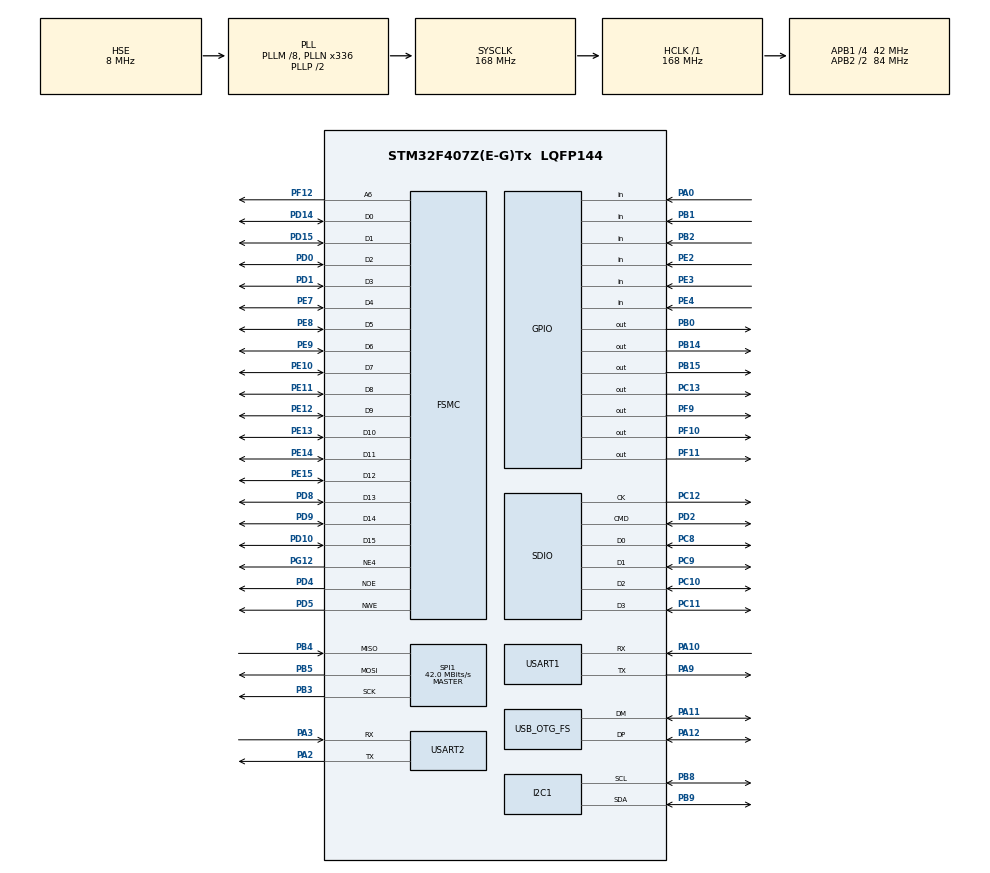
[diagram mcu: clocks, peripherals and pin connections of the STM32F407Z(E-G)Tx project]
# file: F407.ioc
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FREERTOS.Tasks01=defaultTask,0,128,StartDefaultTask,Default,NULL
FREERTOS.configUSE_STATS_FORMATTING_FUNCTIONS=1
FREERTOS.configUSE_TICKLESS_IDLE=1
FREERTOS.configUSE_TIMERS=1
FREERTOS.configUSE_TRACE_FACILITY=1
FSMC.BusTurnAroundDuration1=0
FSMC.DataSetupTime1=60
Mcu.Family=STM32F4
Mcu.Name=STM32F407Z(E-G)Tx
Mcu.Package=LQFP144
NVIC.OTG_FS_IRQn=true\:5\:0\:false\:false\:true\:true\:false
NVIC.PriorityGroup=NVIC_PRIORITYGROUP_4
PA0-WKUP.Signal=GPIO_Input
PA10.Mode=Asynchronous
PA10.Signal=USART1_RX
PA11.Mode=Device_Only
PA11.Signal=USB_OTG_FS_DM
PA12.Mode=Device_Only
PA12.Signal=USB_OTG_FS_DP
PA13.Mode=Serial_Wire
PA13.Signal=SYS_JTMS-SWDIO
PA14.Mode=Serial_Wire
PA14.Signal=SYS_JTCK-SWCLK
PA2.Mode=Asynchronous
PA2.Signal=USART2_TX
PA3.Mode=Asynchronous
PA3.Signal=USART2_RX
PA9.Mode=Asynchronous
PA9.Signal=USART1_TX
PB0.Signal=GPIO_Output
PB1.Signal=GPIO_Input
PB14.Signal=GPIO_Output
PB15.Signal=GPIO_Output
PB2.Signal=GPIO_Input
PB3.Mode=Full_Duplex_Master
PB3.Signal=SPI1_SCK
PB4.Mode=Full_Duplex_Master
PB4.Signal=SPI1_MISO
PB5.Mode=Full_Duplex_Master
PB5.Signal=SPI1_MOSI
PB8.Mode=SMBus-two-wire-Interface
PB8.Signal=I2C1_SCL
PB9.Mode=SMBus-two-wire-Interface
PB9.Signal=I2C1_SDA
PC10.Mode=SD_4_bits_Wide_bus
PC10.Signal=SDIO_D2
PC11.Mode=SD_4_bits_Wide_bus
PC11.Signal=SDIO_D3
PC12.Mode=SD_4_bits_Wide_bus
PC12.Signal=SDIO_CK
PC13-ANTI_TAMP.Signal=GPIO_Output
PC14-OSC32_IN.Mode=LSE-External-Oscillator
PC14-OSC32_IN.Signal=RCC_OSC32_IN
PC15-OSC32_OUT.Mode=LSE-External-Oscillator
PC15-OSC32_OUT.Signal=RCC_OSC32_OUT
PC8.Mode=SD_4_bits_Wide_bus
PC8.Signal=SDIO_D0
PC9.Mode=SD_4_bits_Wide_bus
PC9.Signal=SDIO_D1
PD0.Signal=FSMC_D2_DA2
PD1.Signal=FSMC_D3_DA3
PD10.Signal=FSMC_D15_DA15
PD14.Signal=FSMC_D0_DA0
PD15.Signal=FSMC_D1_DA1
PD2.Mode=SD_4_bits_Wide_bus
PD2.Signal=SDIO_CMD
PD4.Signal=FSMC_NOE
PD5.Signal=FSMC_NWE
PD8.Signal=FSMC_D13_DA13
PD9.Signal=FSMC_D14_DA14
PE10.Signal=FSMC_D7_DA7
PE11.Signal=FSMC_D8_DA8
PE12.Signal=FSMC_D9_DA9
PE13.Signal=FSMC_D10_DA10
PE14.Signal=FSMC_D11_DA11
PE15.Signal=FSMC_D12_DA12
PE2.Signal=GPIO_Input
PE3.Signal=GPIO_Input
PE4.Signal=GPIO_Input
PE7.Signal=FSMC_D4_DA4
PE8.Signal=FSMC_D5_DA5
PE9.Signal=FSMC_D6_DA6
PF10.Signal=GPIO_Output
PF11.Signal=GPIO_Output
PF12.Signal=FSMC_A6
PF9.Signal=GPIO_Output
PG12.Mode=NorPsramChipSelect4_1
PG12.Signal=FSMC_NE4
PH0-OSC_IN.Mode=HSE-External-Oscillator
PH0-OSC_IN.Signal=RCC_OSC_IN
PH1-OSC_OUT.Mode=HSE-External-Oscillator
PH1-OSC_OUT.Signal=RCC_OSC_OUT
ProjectManager.HeapSize=0x200
ProjectManager.StackSize=0x400
ProjectManager.TargetToolchain=Makefile
RCC.48MHZClocksFreq_Value=48000000
RCC.AHBFreq_Value=168000000
RCC.APB1CLKDivider=RCC_HCLK_DIV4
RCC.APB1Freq_Value=42000000
RCC.APB1TimFreq_Value=84000000
RCC.APB2CLKDivider=RCC_HCLK_DIV2
RCC.APB2Freq_Value=84000000
RCC.APB2TimFreq_Value=168000000
RCC.CortexFreq_Value=168000000
RCC.HCLKFreq_Value=168000000
RCC.HSE_VALUE=8000000
RCC.HSI_VALUE=16000000
RCC.PLLM=8
RCC.PLLN=336
RCC.PLLQ=7
RCC.SYSCLKFreq_VALUE=168000000
RCC.SYSCLKSource=RCC_SYSCLKSOURCE_PLLCLK
RCC.VCOOutputFreq_Value=336000000
SH.FSMC_A6.0=FSMC_A6,A6_1
SH.FSMC_D0_DA0.0=FSMC_D0,16b-d1
SH.FSMC_D10_DA10.0=FSMC_D10,16b-d1
SH.FSMC_D11_DA11.0=FSMC_D11,16b-d1
SH.FSMC_D12_DA12.0=FSMC_D12,16b-d1
SH.FSMC_D13_DA13.0=FSMC_D13,16b-d1
SH.FSMC_D14_DA14.0=FSMC_D14,16b-d1
SH.FSMC_D15_DA15.0=FSMC_D15,16b-d1
SH.FSMC_D1_DA1.0=FSMC_D1,16b-d1
SH.FSMC_D2_DA2.0=FSMC_D2,16b-d1
SH.FSMC_D3_DA3.0=FSMC_D3,16b-d1
SH.FSMC_D4_DA4.0=FSMC_D4,16b-d1
SH.FSMC_D5_DA5.0=FSMC_D5,16b-d1
SH.FSMC_D6_DA6.0=FSMC_D6,16b-d1
SH.FSMC_D7_DA7.0=FSMC_D7,16b-d1
SH.FSMC_D8_DA8.0=FSMC_D8,16b-d1
SH.FSMC_D9_DA9.0=FSMC_D9,16b-d1
SH.FSMC_NOE.0=FSMC_NOE,Lcd1
SH.FSMC_NWE.0=FSMC_NWE,Lcd1
SPI1.CalculateBaudRate=42.0 MBits/s
SPI1.Direction=SPI_DIRECTION_2LINES
SPI1.Mode=SPI_MODE_MASTER
SPI1.VirtualType=VM_MASTER
USART1.VirtualMode=VM_ASYNC
USART2.VirtualMode=VM_ASYNC
USB_DEVICE.CLASS_NAME_FS=MSC
USB_DEVICE.VirtualMode-MSC_FS=Msc
USB_DEVICE.VirtualModeFS=Msc_FS
USB_OTG_FS.VirtualMode=Device_Only
VP_CRC_VS_CRC.Mode=CRC_Activate
VP_FATFS_VS_Generic.Mode=User_defined
VP_FREERTOS_VS_ENABLE.Mode=Enabled
VP_RTC_VS_RTC_Activate.Mode=RTC_Enabled
VP_USB_DEVICE_VS_USB_DEVICE_MSC_FS.Mode=MSC_FS
board=custom

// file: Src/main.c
/* USER CODE BEGIN Header */
/**
  ******************************************************************************
  * @file           : main.c
  * @brief          : Main program body
  ******************************************************************************
  * This notice applies to any and all portions of this file
  * that are not between comment pairs USER CODE BEGIN and
  * USER CODE END. Other portions of this file, whether
  * inserted by the user or by software development tools
  * are owned by their respective copyright owners.
  *
  * Copyright (c) 2020 STMicroelectronics International N.V.
  * All rights reserved.
  *
  * Redistribution and use in source and binary forms, with or without
  * modification, are permitted, provided that the following conditions are met:
  *
  * 1. Redistribution of source code must retain the above copyright notice,
  *    this list of conditions and the following disclaimer.
  * 2. Redistributions in binary form must reproduce the above copyright notice,
  *    this list of conditions and the following disclaimer in the documentation
  *    and/or other materials provided with the distribution.
  * 3. Neither the name of STMicroelectronics nor the names of other
  *    contributors to this software may be used to endorse or promote products
  *    derived from this software without specific written permission.
  * 4. This software, including modifications and/or derivative works of this
  *    software, must execute solely and exclusively on microcontroller or
  *    microprocessor devices manufactured by or for STMicroelectronics.
  * 5. Redistribution and use of this software other than as permitted under
  *    this license is void and will automatically terminate your rights under
  *    this license.
  *
  * THIS SOFTWARE IS PROVIDED BY STMICROELECTRONICS AND CONTRIBUTORS "AS IS"
  * AND ANY EXPRESS, IMPLIED OR STATUTORY WARRANTIES, INCLUDING, BUT NOT
  * LIMITED TO, THE IMPLIED WARRANTIES OF MERCHANTABILITY, FITNESS FOR A
  * PARTICULAR PURPOSE AND NON-INFRINGEMENT OF THIRD PARTY INTELLECTUAL PROPERTY
  * RIGHTS ARE DISCLAIMED TO THE FULLEST EXTENT PERMITTED BY LAW. IN NO EVENT
  * SHALL STMICROELECTRONICS OR CONTRIBUTORS BE LIABLE FOR ANY DIRECT, INDIRECT,
  * INCIDENTAL, SPECIAL, EXEMPLARY, OR CONSEQUENTIAL DAMAGES (INCLUDING, BUT NOT
  * LIMITED TO, PROCUREMENT OF SUBSTITUTE GOODS OR SERVICES; LOSS OF USE, DATA,
  * OR PROFITS; OR BUSINESS INTERRUPTION) HOWEVER CAUSED AND ON ANY THEORY OF
  * LIABILITY, WHETHER IN CONTRACT, STRICT LIABILITY, OR TORT (INCLUDING
  * NEGLIGENCE OR OTHERWISE) ARISING IN ANY WAY OUT OF THE USE OF THIS SOFTWARE,
  * EVEN IF ADVISED OF THE POSSIBILITY OF SUCH DAMAGE.
  *
  ******************************************************************************
  */
/* USER CODE END Header */

#include "main.h"
#include "cmsis_os.h"
#include "crc.h"
#include "fatfs.h"
#include "i2c.h"
#include "rtc.h"
#include "sdio.h"
#include "spi.h"
#include "usart.h"
#include "usb_device.h"
#include "gpio.h"
#include "fsmc.h"

/* USER CODE BEGIN PV */
#if 0
#include "stdio.h"
int fputc(int ch, FILE *f)
 {
	HAL_UART_Transmit(&huart1,(uint8_t *)&ch,1,100);
	return ch;
 }
#else
int _write(int file, char *ptr, int len)
{
  /*
  int DataIdx;
  for (DataIdx = 0; DataIdx < len; DataIdx++)
  {
    HAL_UART_Transmit(&huart1, (uint8_t *)ptr++, 1, 100);
    // __io_putchar( *ptr++ );
  }
  */
  HAL_UART_Transmit(&huart1, (uint8_t *)ptr, len, 1000);
  return len;
}
#endif
/* USER CODE END PV */

void SystemClock_Config(void);
void MX_FREERTOS_Init(void);

/* USER CODE BEGIN 0 */
const char __attribute__((section(".lua_script"))) script[]="123456 stm32 flash test\r\n";
/* USER CODE END 0 */

// extern void UI_task(void const * argument);
int main(void)
{

  /* MCU Configuration--------------------------------------------------------*/

  /* Reset of all peripherals, Initializes the Flash interface and the Systick. */
  HAL_Init();

  /* Configure the system clock */
  SystemClock_Config();

  /* Initialize all configured peripherals */
  MX_GPIO_Init();
  MX_RTC_Init();
  MX_CRC_Init();
  MX_SDIO_SD_Init();
  MX_USART1_UART_Init();
  MX_FSMC_Init();
  MX_SPI1_Init();
  MX_I2C1_Init();
  MX_USART2_UART_Init();
  /* USER CODE BEGIN 2 */
  printf("Compiled %s %s\r\n",__DATE__,__TIME__);
  // UI_task(NULL);
  /* USER CODE END 2 */

  /* Call init function for freertos objects (in freertos.c) */
  MX_FREERTOS_Init();

  /* Start scheduler */
  osKernelStart();

  /* We should never get here as control is now taken by the scheduler */

  /* Infinite loop */
  while (1)
  {

  }
}

void SystemClock_Config(void)
{
  RCC_OscInitTypeDef RCC_OscInitStruct = {0};
  RCC_ClkInitTypeDef RCC_ClkInitStruct = {0};
  RCC_PeriphCLKInitTypeDef PeriphClkInitStruct = {0};

  /**Configure the main internal regulator output voltage
  */
  __HAL_RCC_PWR_CLK_ENABLE();
  __HAL_PWR_VOLTAGESCALING_CONFIG(PWR_REGULATOR_VOLTAGE_SCALE1);
  /**Initializes the CPU, AHB and APB busses clocks
  */
  RCC_OscInitStruct.OscillatorType = RCC_OSCILLATORTYPE_LSI|RCC_OSCILLATORTYPE_HSE;
  RCC_OscInitStruct.HSEState = RCC_HSE_ON;
  RCC_OscInitStruct.LSIState = RCC_LSI_ON;
  RCC_OscInitStruct.PLL.PLLState = RCC_PLL_ON;
  RCC_OscInitStruct.PLL.PLLSource = RCC_PLLSOURCE_HSE;
  RCC_OscInitStruct.PLL.PLLM = 8;
  RCC_OscInitStruct.PLL.PLLN = 336;
  RCC_OscInitStruct.PLL.PLLP = RCC_PLLP_DIV2;
  RCC_OscInitStruct.PLL.PLLQ = 7;
  if (HAL_RCC_OscConfig(&RCC_OscInitStruct) != HAL_OK)
  {
    Error_Handler();
  }
  /**Initializes the CPU, AHB and APB busses clocks
  */
  RCC_ClkInitStruct.ClockType = RCC_CLOCKTYPE_HCLK|RCC_CLOCKTYPE_SYSCLK
                              |RCC_CLOCKTYPE_PCLK1|RCC_CLOCKTYPE_PCLK2;
  RCC_ClkInitStruct.SYSCLKSource = RCC_SYSCLKSOURCE_PLLCLK;
  RCC_ClkInitStruct.AHBCLKDivider = RCC_SYSCLK_DIV1;
  RCC_ClkInitStruct.APB1CLKDivider = RCC_HCLK_DIV4;
  RCC_ClkInitStruct.APB2CLKDivider = RCC_HCLK_DIV2;

  if (HAL_RCC_ClockConfig(&RCC_ClkInitStruct, FLASH_LATENCY_5) != HAL_OK)
  {
    Error_Handler();
  }
  PeriphClkInitStruct.PeriphClockSelection = RCC_PERIPHCLK_RTC;
  PeriphClkInitStruct.RTCClockSelection = RCC_RTCCLKSOURCE_LSI;
  if (HAL_RCCEx_PeriphCLKConfig(&PeriphClkInitStruct) != HAL_OK)
  {
    Error_Handler();
  }
}

void Error_Handler(void)
{
}

/************************ (C) COPYRIGHT STMicroelectronics *****END OF FILE****/

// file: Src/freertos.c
/* USER CODE BEGIN Header */
/**
  ******************************************************************************
  * File Name          : freertos.c
  * Description        : Code for freertos applications
  ******************************************************************************
  * This notice applies to any and all portions of this file
  * that are not between comment pairs USER CODE BEGIN and
  * USER CODE END. Other portions of this file, whether
  * inserted by the user or by software development tools
  * are owned by their respective copyright owners.
  *
  * Copyright (c) 2020 STMicroelectronics International N.V.
  * All rights reserved.
  *
  * Redistribution and use in source and binary forms, with or without
  * modification, are permitted, provided that the following conditions are met:
  *
  * 1. Redistribution of source code must retain the above copyright notice,
  *    this list of conditions and the following disclaimer.
  * 2. Redistributions in binary form must reproduce the above copyright notice,
  *    this list of conditions and the following disclaimer in the documentation
  *    and/or other materials provided with the distribution.
  * 3. Neither the name of STMicroelectronics nor the names of other
  *    contributors to this software may be used to endorse or promote products
  *    derived from this software without specific written permission.
  * 4. This software, including modifications and/or derivative works of this
  *    software, must execute solely and exclusively on microcontroller or
  *    microprocessor devices manufactured by or for STMicroelectronics.
  * 5. Redistribution and use of this software other than as permitted under
  *    this license is void and will automatically terminate your rights under
  *    this license.
  *
  * THIS SOFTWARE IS PROVIDED BY STMICROELECTRONICS AND CONTRIBUTORS "AS IS"
  * AND ANY EXPRESS, IMPLIED OR STATUTORY WARRANTIES, INCLUDING, BUT NOT
  * LIMITED TO, THE IMPLIED WARRANTIES OF MERCHANTABILITY, FITNESS FOR A
  * PARTICULAR PURPOSE AND NON-INFRINGEMENT OF THIRD PARTY INTELLECTUAL PROPERTY
  * RIGHTS ARE DISCLAIMED TO THE FULLEST EXTENT PERMITTED BY LAW. IN NO EVENT
  * SHALL STMICROELECTRONICS OR CONTRIBUTORS BE LIABLE FOR ANY DIRECT, INDIRECT,
  * INCIDENTAL, SPECIAL, EXEMPLARY, OR CONSEQUENTIAL DAMAGES (INCLUDING, BUT NOT
  * LIMITED TO, PROCUREMENT OF SUBSTITUTE GOODS OR SERVICES; LOSS OF USE, DATA,
  * OR PROFITS; OR BUSINESS INTERRUPTION) HOWEVER CAUSED AND ON ANY THEORY OF
  * LIABILITY, WHETHER IN CONTRACT, STRICT LIABILITY, OR TORT (INCLUDING
  * NEGLIGENCE OR OTHERWISE) ARISING IN ANY WAY OUT OF THE USE OF THIS SOFTWARE,
  * EVEN IF ADVISED OF THE POSSIBILITY OF SUCH DAMAGE.
  *
  ******************************************************************************
  */
/* USER CODE END Header */

#include "FreeRTOS.h"
#include "task.h"
#include "main.h"
#include "cmsis_os.h"

/* USER CODE BEGIN Includes */
#include "touch.h"
#include "lcd.h"

/*
void LCD_Init(void);
void LCD_Clear(uin16_t Color);
*/
osThreadId LEDHandle;
char pWriteBuffer[2048];
void LED_Flicker(void const * argument)
{
  volatile char* flash = 0x80F0000;
  vTaskDelay(500);
  printf("GCC printf test\r\n");
  printf(flash);
  while (1)
  {
    HAL_GPIO_TogglePin(GPIOF, GPIO_PIN_9 | GPIO_PIN_10);
    vTaskDelay(2000);

    vTaskList((char *)&pWriteBuffer);
    printf("[task information]\r\n");
    printf("task name\tstate\tprior\tstack\tnumber\r\n");
    printf("------------------------------------------------\r\n");
    printf("%s\r\n", pWriteBuffer);
  }
}

osThreadId UIHandle;

#ifdef EMWIN

#include "GUIDEMO.h"
#include "GUI.h"

extern WM_HWIN CreateSoftWare(void);
extern WM_HWIN HeadWindow(void);
extern void GIFTask(void);

/*
extern void GUIDEMO_Main();
STemWin/GUI_DEMO/GUIDEMO_Bitmap.c \
STemWin/GUI_DEMO/GUIDEMO_ColorBar.c \
STemWin/GUI_DEMO/GUIDEMO_Conf.c \
STemWin/GUI_DEMO/GUIDEMO_Cursor.c \
STemWin/GUI_DEMO/GUIDEMO_Graph.c \
STemWin/GUI_DEMO/GUIDEMO_IconView.c \
STemWin/GUI_DEMO/GUIDEMO_Intro.c \
STemWin/GUI_DEMO/GUIDEMO_Listview.c \
STemWin/GUI_DEMO/GUIDEMO_RadialMenu.c \
STemWin/GUI_DEMO/GUIDEMO_Resource.c \
STemWin/GUI_DEMO/GUIDEMO_Speed.c \
STemWin/GUI_DEMO/GUIDEMO_Start.c \
STemWin/GUI_DEMO/GUIDEMO_Treeview.c \
STemWin/GUI_DEMO/GUIDEMO_VScreen.c \
STemWin/GUI_DEMO/GUIDEMO.c
*/
extern void GUIDEMO_Main(void);

void UI_task(void const * argument)
{

  LCD_Init();
  WM_SetCreateFlags(WM_CF_MEMDEV);
  GUI_Init();
  // GUIDEMO_Main();
  // GIFTask();
  CreateSoftWare();
  HeadWindow();
  while (1)
  {
    GUI_Exec();
  }
}

#else
#include "lv_port_disp.h"
#include "lv_port_indev.h"
#include "lvgl/lvgl.h"

void UI_task(void const * argument)
{
  lv_init();
  lv_port_disp_init();
  lv_port_indev_init();
  // lv_example_btn_2();
  // lv_example_bar_2();
  // lv_example_btnmatrix_3();
  // lv_example_keyboard_1();
  lv_example_animimg_1();//杯子动画
  // lv_example_canvas_2();
  // lv_example_scroll_6();
  while(1)
  {
    HAL_Delay(5);
    lv_task_handler();

  }
}
void vApplicationIdleHook()
{

}
void vApplicationTickHook()
{
	lv_tick_inc(1);
}
#endif

osThreadId TouchHandle;
static void Touch_task(void const * argument)//触摸
{
	while(1)
	{
    #ifdef EMWIN
		GUI_TOUCH_Exec();
    #endif
		vTaskDelay(10);
	}
}

/* USER CODE END Includes */

osThreadId defaultTaskHandle;

void StartDefaultTask(void const * argument);

extern void MX_FATFS_Init(void);
extern void MX_USB_DEVICE_Init(void);
void MX_FREERTOS_Init(void); /* (MISRA C 2004 rule 8.1) */

/* Pre/Post sleep processing prototypes */
void PreSleepProcessing(uint32_t *ulExpectedIdleTime);
void PostSleepProcessing(uint32_t *ulExpectedIdleTime);

/* USER CODE BEGIN PREPOSTSLEEP */
__weak void PreSleepProcessing(uint32_t *ulExpectedIdleTime)
{
  /* place for user code */
}

__weak void PostSleepProcessing(uint32_t *ulExpectedIdleTime)
{
  /* place for user code */
}
/* USER CODE END PREPOSTSLEEP */

void MX_FREERTOS_Init(void) {

  /* Create the thread(s) */
  /* definition and creation of defaultTask */
  osThreadDef(defaultTask, StartDefaultTask, osPriorityNormal, 0, 128);
  defaultTaskHandle = osThreadCreate(osThread(defaultTask), NULL);

  /* USER CODE BEGIN RTOS_THREADS */
  /* add threads, ... */
  osThreadDef(LED_task, LED_Flicker, osPriorityNormal, 0, 128);
  LEDHandle = osThreadCreate(osThread(LED_task), NULL);

  osThreadDef(UI_task, UI_task, osPriorityBelowNormal, 0, 1024 * 2);
  UIHandle = osThreadCreate(osThread(UI_task), NULL);

    osThreadDef(touch_task, Touch_task, osPriorityBelowNormal, 0, 512);
  TouchHandle = osThreadCreate(osThread(touch_task), NULL);
  /* USER CODE END RTOS_THREADS */

}

void StartDefaultTask(void const * argument)
{
  /* init code for FATFS */
  MX_FATFS_Init();

  /* init code for USB_DEVICE */
  MX_USB_DEVICE_Init();

  for (;;)
  {
    osDelay(1);
  }
}

/************************ (C) COPYRIGHT STMicroelectronics *****END OF FILE****/
